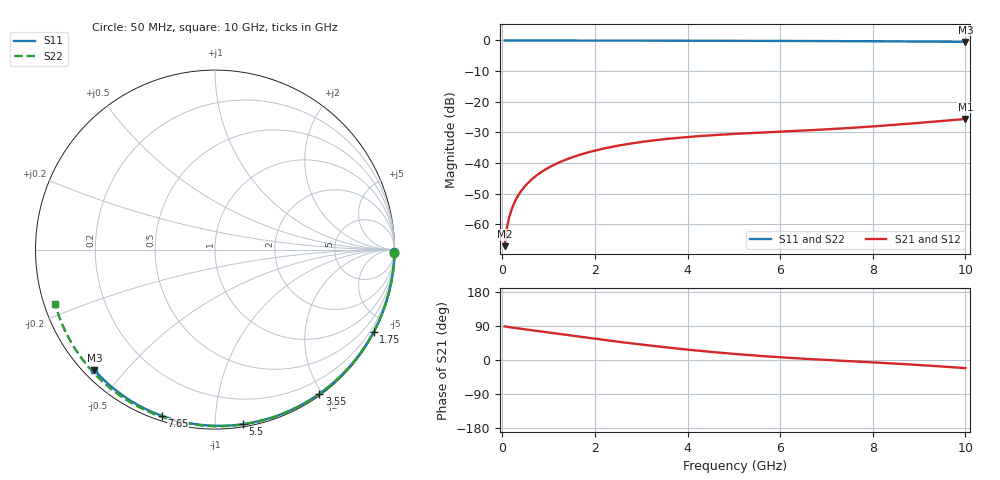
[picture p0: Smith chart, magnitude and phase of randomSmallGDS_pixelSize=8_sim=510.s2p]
! freq	dB(S11)	phase(S11)	dB(S12)	phase(S12)
!  dB(S21)	phase(S21)	dB(S22)	phase(S22)
!S-par simulation data
#  GHz  S  DB  R 50
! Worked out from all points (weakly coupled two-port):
!   200 points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, 50 MHz to 10 GHz, reference 50 ohm
!   highest |S21| = -25.65 dB at 10 GHz (marker M1); lowest = -67.2 dB at 50 MHz (marker M2)
!   lowest |S11| = -0.5 dB at 10 GHz (marker M3), VSWR 38.38, Z = 1.53 - j20.7 ohm
!   |S11| at or under -10 dB: nowhere
!   |S22| runs from -0.5 to 0.0 dB; largest |S21 - S12| = 0
!   S11 on the Smith chart (normalised r, x): 50 MHz: open; 1.75 GHz: 0.04, -4.11; 3.55 GHz: 0.02, -1.96; 5.5 GHz: 0.02, -1.17; 7.65 GHz: 0.02, -0.73; 10 GHz: 0.03, -0.41
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0.05  -0.00 -0.8  -67.19 88.8  -67.19 88.8  -0.00 -1.0
0.1  -0.00 -1.6  -61.20 87.7  -61.20 87.7  -0.00 -1.9
0.15  -0.00 -2.4  -57.71 86.7  -57.71 86.7  -0.00 -2.9
0.2  -0.00 -3.2  -55.25 85.8  -55.25 85.8  -0.00 -3.8
0.25  -0.00 -4.0  -53.34 84.9  -53.34 84.9  -0.00 -4.8
0.35  -0.00 -5.6  -50.46 83.2  -50.46 83.2  -0.00 -6.7
0.5  -0.01 -7.9  -47.41 80.8  -47.41 80.8  -0.01 -9.6
0.7  -0.01 -11.1  -44.54 77.5  -44.54 77.5  -0.01 -13.3
1  -0.02 -15.8  -41.54 72.4  -41.54 72.4  -0.02 -19.0
1.35  -0.03 -21.2  -39.06 66.6  -39.06 66.6  -0.03 -25.5
1.75  -0.04 -27.3  -37.00 60.1  -37.00 60.1  -0.04 -32.9
2.5  -0.05 -38.7  -34.37 48.2  -34.37 48.2  -0.06 -46.4
3.4  -0.07 -51.9  -32.41 35.2  -32.41 35.2  -0.08 -62.1
3.55  -0.07 -54.1  -32.17 33.2  -32.17 33.2  -0.09 -64.7
4.3  -0.09 -64.7  -31.19 23.8  -31.19 23.8  -0.11 -77.1
5.05  -0.12 -74.9  -30.49 15.7  -30.49 15.7  -0.14 -89.1
5.5  -0.13 -80.8  -30.15 11.4  -30.15 11.4  -0.16 -96.1
6.7  -0.19 -96.2  -29.28 2.1  -29.28 2.1  -0.22 -114.1
7.65  -0.24 -107.7  -28.44 -4.0  -28.44 -4.0  -0.29 -127.8
8.35  -0.29 -116.0  -27.69 -8.6  -27.69 -8.6  -0.35 -137.7
9.2  -0.37 -125.9  -26.67 -14.8  -26.67 -14.8  -0.43 -149.8
10  -0.45 -135.0  -25.65 -21.5  -25.65 -21.5  -0.53 -161.3
